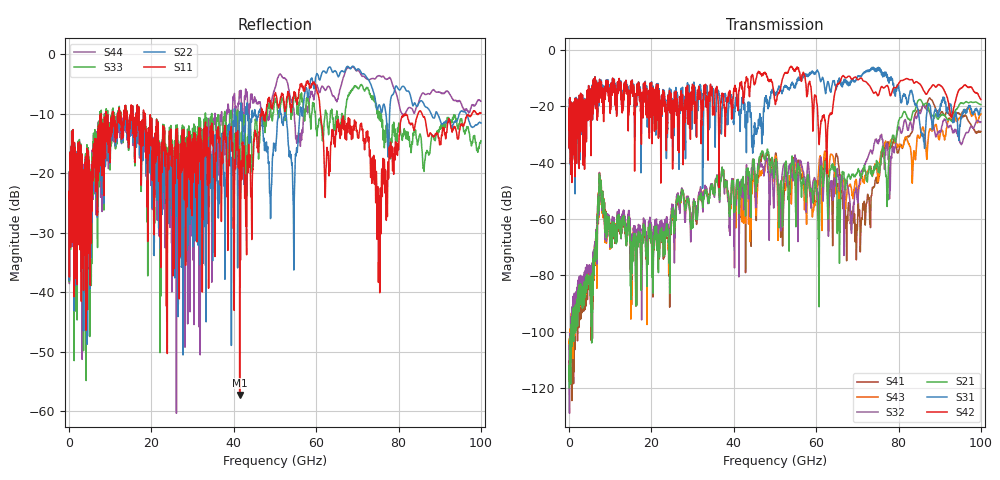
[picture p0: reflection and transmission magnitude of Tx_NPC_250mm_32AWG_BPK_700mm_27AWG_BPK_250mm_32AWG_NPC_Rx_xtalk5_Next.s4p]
! Info: Touchstone file created by Circ.  Input file=Tx_NPC_250mm_32AWG_BPK_700mm_27AWG_BPK_250mm_32AWG_NPC_Rx.circ
# Hz S RI R 50
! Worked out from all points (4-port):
!   10000 points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, 10 MHz to 100 GHz, reference 50 ohm
!   strongest paths, dB at 10 MHz, 25.01 GHz, 50.01 GHz, 75.01 GHz, 100 GHz:
!     S42: -28.4, -18.5, -18.4, -16.3, -17.6
!     S31: -28.4, -17.3, -15.4, -6.7, -20.8
!     S21: -120.0, -58.0, -40.5, -41.2, -19.5
!     S32: -104.7, -55.6, -44.4, -32.8, -25.5
!     S43: -102.6, -57.4, -39.5, -45.9, -22.7
!     S41: -117.4, -58.9, -38.3, -47.3, -29.0
!   lowest |S11| = -57.3 dB at 41.43 GHz (marker M1), VSWR 1.00, Z = 49.9 - j0.126 ohm
!   |S11| at or under -10 dB: 18.4 GHz to 46.66 GHz (28.26 GHz wide, 86.9 % of centre); 61.06 GHz to 84.77 GHz (23.71 GHz wide, 32.5 % of centre); 85.69 GHz to 97.84 GHz (12.15 GHz wide, 13.2 % of centre) (the widest 3 of 40)
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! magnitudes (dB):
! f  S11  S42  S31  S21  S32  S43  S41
! 10 MHz  -24.1  -28.4  -28.4  -120.0  -104.7  -102.6  -117.4
! 7.7 GHz  -13.0  -15.0  -14.0  -46.5  -46.6  -46.8  -46.6
! 15.38 GHz  -10.5  -12.8  -12.3  -71.4  -67.8  -69.3  -70.3
! 41.43 GHz  -57.3  -13.0  -23.1  -52.9  -52.5  -54.4  -56.4
! 69.62 GHz  -11.5  -9.7  -11.0  -44.3  -49.2  -46.2  -62.5
! 87.47 GHz  -13.8  -14.1  -19.3  -21.7  -22.0  -28.8  -17.1
! 100 GHz  -9.9  -17.6  -20.8  -19.5  -25.5  -22.7  -29.0
